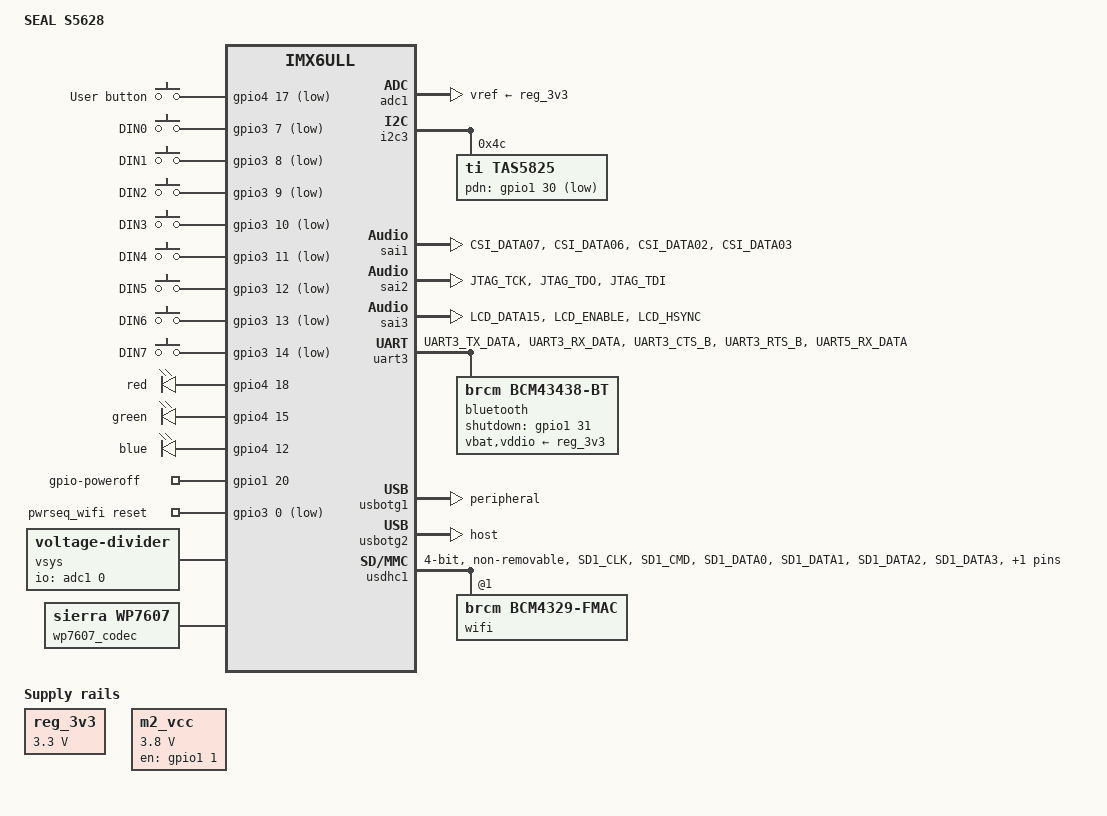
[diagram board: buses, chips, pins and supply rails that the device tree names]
// SPDX-License-Identifier: GPL-2.0+
/*
 * Copyright (C) 2020 SEAL AG
 */

/dts-v1/;

#include "seal-imx6ull-common.dtsi"

/ {
	model = "SEAL S5628";
	compatible = "seal,s5628", "fsl,imx6ull";

	adau7002: adau7002 {
		compatible = "adi,adau7002";
		#sound-dai-cells = <0>;
	};

	gpio-keys {
		compatible = "gpio-keys";
		pinctrl-names = "default";
		pinctrl-0 = <&pinctrl_gpio_keys>;

		user-button {
			label = "User button";
			gpios = <&gpio4 17 GPIO_ACTIVE_LOW>;
			linux,code = <BTN_MISC>;
			wakeup-source;
		};

		din0 {
			label = "DIN0";
			gpios = <&gpio3 7 GPIO_ACTIVE_LOW>;
			linux,code = <KEY_0>;
			wakeup-source;
		};

		din1 {
			label = "DIN1";
			gpios = <&gpio3 8 GPIO_ACTIVE_LOW>;
			linux,code = <KEY_1>;
			wakeup-source;
		};

		din2 {
			label = "DIN2";
			gpios = <&gpio3 9 GPIO_ACTIVE_LOW>;
			linux,code = <KEY_2>;
			wakeup-source;
		};

		din3 {
			label = "DIN3";
			gpios = <&gpio3 10 GPIO_ACTIVE_LOW>;
			linux,code = <KEY_3>;
			wakeup-source;
		};

		din4 {
			label = "DIN4";
			gpios = <&gpio3 11 GPIO_ACTIVE_LOW>;
			linux,code = <KEY_4>;
			wakeup-source;
		};

		din5 {
			label = "DIN5";
			gpios = <&gpio3 12 GPIO_ACTIVE_LOW>;
			linux,code = <KEY_5>;
			wakeup-source;
		};

		din6 {
			label = "DIN6";
			gpios = <&gpio3 13 GPIO_ACTIVE_LOW>;
			linux,code = <KEY_6>;
			wakeup-source;
		};

		din7 {
			label = "DIN7";
			gpios = <&gpio3 14 GPIO_ACTIVE_LOW>;
			linux,code = <KEY_7>;
			wakeup-source;
		};
	};

	gpio-leds {
		compatible = "gpio-leds";
		pinctrl-names = "default";
		pinctrl-0 = <&pinctrl_gpio_leds>;

		red-led {
			label = "red";
			gpios = <&gpio4 18 GPIO_ACTIVE_HIGH>;
			default-state = "on";
		};

		green-led {
			label = "green";
			gpios = <&gpio4 15 GPIO_ACTIVE_HIGH>;
			default-state = "off";
		};

		blue-led {
			label = "blue";
			gpios = <&gpio4 12 GPIO_ACTIVE_HIGH>;
			default-state = "off";
		};
	};

	gpio-poweroff {
		compatible = "gpio-poweroff";
		gpios = <&gpio1 20 GPIO_ACTIVE_HIGH>;
		status = "okay";
	};

	pwrseq_wifi: pwrseq-wifi {
		compatible = "mmc-pwrseq-simple";
		reset-gpios = <&gpio3 0 GPIO_ACTIVE_LOW>;
		clocks = <&ds3231 1>;
		clock-names = "ext_clock";
	};

	reg_3v3: regulator-3v3 {
		compatible = "regulator-fixed";
		regulator-name = "3v3";
		regulator-min-microvolt = <3300000>;
		regulator-max-microvolt = <3300000>;
		regulator-always-on;
	};

	regulator-m2-vcc {
		compatible = "regulator-fixed";

		regulator-name = "m2_vcc";
		regulator-min-microvolt = <3800000>;
		regulator-max-microvolt = <3800000>;
		regulator-always-on;

		pinctrl-names = "default";
		pinctrl-0 = <&pinctrl_reg_m2_vcc>;
		gpio = <&gpio1 1 GPIO_ACTIVE_HIGH>;
		enable-active-high;
	};

	sound-adau7002 {
		compatible = "simple-audio-card";
		simple-audio-card,name = "s5628-adau7002";
		simple-audio-card,format = "i2s";
		simple-audio-card,bitclock-master = <&sound_adau7002_master>;
		simple-audio-card,frame-master = <&sound_adau7002_master>;

		sound_adau7002_master: simple-audio-card,cpu {
			sound-dai = <&sai2>;
			dai-tdm-slot-num = <2>;
			dai-tdm-slot-width = <32>;
		};

		simple-audio-card,codec {
			sound-dai = <&adau7002>;
		};
	};

	sound-tas5825 {
		compatible = "fsl,imx-audio-tas5825";
		model = "s5628-tas5825";
		audio-cpu = <&sai3>;
		audio-asrc = <&asrc>;
		audio-codec = <&tas5825>;
	};

	sound-wp7607 {
		compatible = "simple-audio-card";
		simple-audio-card,name = "s5628-wp7607";
		simple-audio-card,format = "dsp_a";
		simple-audio-card,bitclock-master = <&sound_wp7607_master>;
		simple-audio-card,frame-master = <&sound_wp7607_master>;
		simple-audio-card,bitclock-inversion;

		sound_wp7607_master: simple-audio-card,cpu {
			sound-dai = <&sai1>;
			dai-tdm-slot-num = <2>;
			dai-tdm-slot-width = <32>;
		};

		simple-audio-card,codec {
			sound-dai = <&wp7607_codec>;
		};
	};

	vsys {
		compatible = "voltage-divider";
		io-channels = <&adc1 0>;
		output-ohms = <3900>;
		full-ohms = <18600>;
	};

	wp7607_codec: wp7607-codec {
		compatible = "sierra,wp7607";
		#sound-dai-cells = <0>;
	};
};

&adc1 {
	status = "okay";
	#io-channel-cells = <1>;
	vref-supply = <&reg_3v3>;
	min-sample-time = <1000>;
};

&clks {
	assigned-clocks = <&clks IMX6UL_CLK_PLL4_AUDIO_DIV>;
	assigned-clock-rates = <786432000>;
};

&ds3231 {
	wakeup-source;
};

&gpio1 {
	pinctrl-names = "default";
	pinctrl-0 = <&pinctrl_gpio1_hog>;

	gpio-line-names =
		"supply-voltage", "m2-regulator-enable", "m2-config-0",
		"m2-power-off", "m2-config-1", "m2-reset", "", "",
		"m2-config-2", "m2-config-3", "", "", "", "", "", "", "", "",
		"", "", "", "", "", "", "", "", "", "", "", "", "tas5825-pdn",
		"bt-shutdown";
};

&gpio3 {
	pinctrl-names = "default";
	pinctrl-0 = <&pinctrl_gpio3_hog>;

	gpio-line-names =
		"wifi-reset", "", "", "", "", "", "", "", "", "", "", "", "",
		"", "", "", "", "", "", "", "", "dout0", "dout1", "dout2",
		"dout3", "", "", "dout6", "dout7";
};

&gpio4 {
	pinctrl-names = "default";
	pinctrl-0 = <&pinctrl_gpio4_hog>;

	gpio-line-names =
		"", "", "", "", "", "", "", "", "", "", "", "", "blue-led", "",
		"", "green-led", "", "user-btn", "red-led", "dout4", "dout5",
		"", "m-supply-present", "", "", "", "", "", "";
};

&i2c3 {
	tas5825: tas5825@4c {
		compatible = "ti,tas5825";
		reg = <0x4c>;
		#sound-dai-cells = <0>;
		pdn-gpios = <&gpio1 30 GPIO_ACTIVE_LOW>;
		pinctrl-names = "default";
		pinctrl-0 = <&pinctrl_tas5825>;
	};
};

&iomuxc {
	pinctrl_gpio1_hog: gpio1hoggrp {
		fsl,pins = <
			/* SUPPLY_VOLTAGE (analog in) */
			MX6UL_PAD_GPIO1_IO00__GPIO1_IO00	0x0
			/* M2_POWER_OFF */
			MX6UL_PAD_GPIO1_IO03__GPIO1_IO03	0xf018
			/* M2_RESET */
			MX6UL_PAD_GPIO1_IO05__GPIO1_IO05	0xf018
			/* ON_POWER_N */
			MX6UL_PAD_UART2_TX_DATA__GPIO1_IO20	0x18
		>;
	};

	pinctrl_gpio3_hog: gpio3hoggrp {
		fsl,pins = <
			/* DOUT0-3 */
			MX6UL_PAD_LCD_DATA16__GPIO3_IO21	0x18
			MX6UL_PAD_LCD_DATA17__GPIO3_IO22	0x18
			MX6UL_PAD_LCD_DATA18__GPIO3_IO23	0x18
			MX6UL_PAD_LCD_DATA19__GPIO3_IO24	0x18
			/* DOUT6-7 */
			MX6UL_PAD_LCD_DATA22__GPIO3_IO27	0x18
			MX6UL_PAD_LCD_DATA23__GPIO3_IO28	0x18
		>;
	};

	pinctrl_gpio4_hog: gpio4hoggrp {
		fsl,pins = <
			/* DOUT4-5 */
			MX6UL_PAD_CSI_VSYNC__GPIO4_IO19		0x18
			MX6UL_PAD_CSI_HSYNC__GPIO4_IO20		0x18
		>;
	};

	pinctrl_gpio_keys: gpiokeysgrp {
		fsl,pins = <
			/* User button */
			MX6UL_PAD_CSI_MCLK__GPIO4_IO17		0x1f080
			/* DIN0-7 */
			MX6UL_PAD_LCD_DATA02__GPIO3_IO07	0x1f080
			MX6UL_PAD_LCD_DATA03__GPIO3_IO08	0x1f080
			MX6UL_PAD_LCD_DATA04__GPIO3_IO09	0x1f080
			MX6UL_PAD_LCD_DATA05__GPIO3_IO10	0x1f080
			MX6UL_PAD_LCD_DATA06__GPIO3_IO11	0x1f080
			MX6UL_PAD_LCD_DATA07__GPIO3_IO12	0x1f080
			MX6UL_PAD_LCD_DATA08__GPIO3_IO13	0x1f080
			MX6UL_PAD_LCD_DATA09__GPIO3_IO14	0x1f080
		>;
	};

	pinctrl_gpio_leds: gpioledsgrp {
		fsl,pins = <
			MX6UL_PAD_CSI_PIXCLK__GPIO4_IO18 	0x18
			MX6UL_PAD_NAND_CLE__GPIO4_IO15	 	0x18
			MX6UL_PAD_NAND_READY_B__GPIO4_IO12	0x18
		>;
	};

	pinctrl_reg_m2_vcc: regm2vccgrp {
		fsl,pins = <
			MX6UL_PAD_GPIO1_IO01__GPIO1_IO01	0x18
		>;
	};

	pinctrl_sai1: sai1grp {
		fsl,pins = <
			MX6UL_PAD_CSI_DATA07__SAI1_TX_DATA	0x1f0b8
			MX6UL_PAD_CSI_DATA06__SAI1_RX_DATA	0x1f0b8
			MX6UL_PAD_CSI_DATA02__SAI1_RX_SYNC	0x1b0b0
			MX6UL_PAD_CSI_DATA03__SAI1_RX_BCLK	0x1b0b0
		>;
	};

	pinctrl_sai2: sai2grp {
		fsl,pins = <
			MX6UL_PAD_JTAG_TCK__SAI2_RX_DATA	0x1f0b8
			MX6UL_PAD_JTAG_TDO__SAI2_TX_SYNC	0x1b0b0
			MX6UL_PAD_JTAG_TDI__SAI2_TX_BCLK	0x1b0b0
		>;
	};

	pinctrl_sai3: sai3grp {
		fsl,pins = <
			MX6UL_PAD_LCD_DATA15__SAI3_TX_DATA	0x1f0b8
			MX6UL_PAD_LCD_ENABLE__SAI3_TX_SYNC	0x1b0b0
			MX6UL_PAD_LCD_HSYNC__SAI3_TX_BCLK	0x1b0b0
		>;
	};

	pinctrl_tas5825: tas5825grp {
		fsl,pins = <
			/* PDN */
			MX6UL_PAD_UART5_TX_DATA__GPIO1_IO30	0x18
		>;
	};

	pinctrl_uart3: uart3grp {
		fsl,pins = <
			MX6UL_PAD_UART3_TX_DATA__UART3_DCE_TX	0x1b0b1
			MX6UL_PAD_UART3_RX_DATA__UART3_DCE_RX	0x1b0b1
			MX6UL_PAD_UART3_CTS_B__UART3_DCE_CTS	0x1b0b1
			MX6UL_PAD_UART3_RTS_B__UART3_DCE_RTS	0x1b0b1
			/* BT_REG_ON */
			MX6UL_PAD_UART5_RX_DATA__GPIO1_IO31	0x1b0b0
		>;
	};

	pinctrl_usdhc1: usdhc1grp {
		fsl,pins = <
			MX6UL_PAD_SD1_CLK__USDHC1_CLK		0x17070
			MX6UL_PAD_SD1_CMD__USDHC1_CMD		0x1f070
			MX6UL_PAD_SD1_DATA0__USDHC1_DATA0	0x17070
			MX6UL_PAD_SD1_DATA1__USDHC1_DATA1	0x17070
			MX6UL_PAD_SD1_DATA2__USDHC1_DATA2	0x17070
			MX6UL_PAD_SD1_DATA3__USDHC1_DATA3	0x17070
			/* WL_REG_ON */
			MX6UL_PAD_LCD_CLK__GPIO3_IO00		0x130b0
		>;
	};
};

&sai1 {
	pinctrl-names = "default";
	pinctrl-0 = <&pinctrl_sai1>;
	assigned-clocks = <&clks IMX6UL_CLK_SAI1_SEL>,
			  <&clks IMX6UL_CLK_SAI1>;
	assigned-clock-parents = <&clks IMX6UL_CLK_PLL4_AUDIO_DIV>;
	assigned-clock-rates = <0>, <12288000>;
	fsl,sai-synchronous-rx;
	status = "okay";
};

&sai2 {
	pinctrl-names = "default";
	pinctrl-0 = <&pinctrl_sai2>;
	assigned-clocks = <&clks IMX6UL_CLK_SAI2_SEL>,
			  <&clks IMX6UL_CLK_SAI2>;
	assigned-clock-parents = <&clks IMX6UL_CLK_PLL4_AUDIO_DIV>;
	assigned-clock-rates = <0>, <12288000>;
	status = "okay";
};

&sai3 {
	pinctrl-names = "default";
	pinctrl-0 = <&pinctrl_sai3>;
	assigned-clocks = <&clks IMX6UL_CLK_SAI3_SEL>,
			  <&clks IMX6UL_CLK_SAI3>;
	assigned-clock-parents = <&clks IMX6UL_CLK_PLL4_AUDIO_DIV>;
	assigned-clock-rates = <0>, <12288000>;
	status = "okay";
};

&uart3 {
	pinctrl-names = "default";
	pinctrl-0 = <&pinctrl_uart3>;
	uart-has-rtscts;
	status = "okay";

	bluetooth {
		compatible = "brcm,bcm43438-bt";
		clocks = <&ds3231 1>;
		clock-names = "lpo";
		vbat-supply = <&reg_3v3>;
		vddio-supply = <&reg_3v3>;
		shutdown-gpios = <&gpio1 31 GPIO_ACTIVE_HIGH>;
		max-speed = <3000000>;
	};
};

&usbotg1 {
	dr_mode = "peripheral";
	status = "okay";
};

&usbotg2 {
	dr_mode = "host";
	disable-over-current;
	status = "okay";
};

&usdhc1 {
	pinctrl-names = "default";
	pinctrl-0 = <&pinctrl_usdhc1>;
	bus-width = <4>;
	no-1-8-v;
	non-removable;
	mmc-pwrseq = <&pwrseq_wifi>;
	status = "okay";

	#address-cells = <1>;
	#size-cells = <0>;

	wifi@1 {
		compatible = "brcm,bcm4329-fmac";
		reg = <1>;
	};
};

